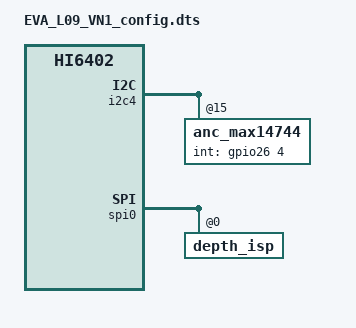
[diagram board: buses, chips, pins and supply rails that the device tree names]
/**
 * Huawei Ltd.
 * PhosphorV660
 */

/dts-v1/;

/include/ "fastboot.dtsi"
/include/ "EVA_L09_V4_config.dtsi"
/include/ "EVA_L09_VN1_pin.dtsi"
/include/ "EVA_L09_VN1_modem_pin.dtsi"
/include/ "EVA_L09_VN1_hi6402_pin.dtsi"

/{
	hisi,modem_id = <0x3C013800>;
	hisi,boardid = <3 5 7 7>;
	hisi,boardname = "EVA_L09_VN1";

	amba{
		i2c4: i2c@FDF0D000{
			anc_max14744: anc_max14744@15{
				gpio_int = <&gpio26 4 0>;
				pinctrl-names = "default", "idle";
				pinctrl-0 = <&gpio010_hi6402_pinctrl_func>;
				pinctrl-1 = <&gpio010_hi6402_pinctrl_idle>;
				status = "ok";
			};
		};
		spi0: spi@ffd70000{
			depth_isp: depth_isp@0 {
				/*chip-type 1:dummy  2:Al6045  4:Al6610*/
				depth_isp,chip_type = <4>;
			};
		};
	};

	panel_lcd_lg_R69006_5P5{
		new_lcd_supported = <1>;
	};

	panel_lcd_sharp_NT35695_5P5{
		new_lcd_supported = <1>;
	};

	panel_lcd_jdi_R63452_5P5{
		new_lcd_supported = <1>;
	};
};
